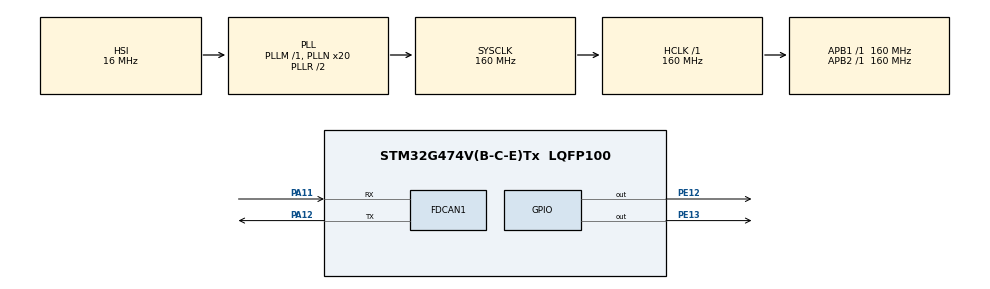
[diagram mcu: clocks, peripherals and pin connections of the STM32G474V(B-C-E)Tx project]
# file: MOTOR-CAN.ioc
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FDCAN1.CalculateBaudRateNominal=1000000
FDCAN1.CalculateTimeBitNominal=1000
FDCAN1.CalculateTimeQuantumNominal=200.0
FDCAN1.ExtFiltersNbr=8
FDCAN1.NominalPrescaler=32
FDCAN1.NominalTimeSeg1=2
FDCAN1.NominalTimeSeg2=2
FDCAN1.StdFiltersNbr=8
Mcu.Family=STM32G4
Mcu.Name=STM32G474V(B-C-E)Tx
Mcu.Package=LQFP100
NVIC.FDCAN1_IT0_IRQn=true\:0\:0\:false\:false\:true\:true\:true\:true
NVIC.FDCAN1_IT1_IRQn=true\:0\:0\:false\:false\:true\:true\:true\:true
NVIC.PriorityGroup=NVIC_PRIORITYGROUP_4
PA11.Mode=FDCAN_Activate
PA11.Signal=FDCAN1_RX
PA12.Mode=FDCAN_Activate
PA12.Signal=FDCAN1_TX
PA13.Mode=Serial_Wire
PA13.Signal=SYS_JTMS-SWDIO
PA14.Mode=Serial_Wire
PA14.Signal=SYS_JTCK-SWCLK
PE12.GPIO_ModeDefaultOutputPP=GPIO_MODE_OUTPUT_PP
PE12.GPIO_PuPd=GPIO_PULLUP
PE12.PinState=GPIO_PIN_RESET
PE12.Signal=GPIO_Output
PE13.GPIO_PuPd=GPIO_PULLUP
PE13.PinState=GPIO_PIN_RESET
PE13.Signal=GPIO_Output
ProjectManager.HeapSize=0x200
ProjectManager.StackSize=0x400
ProjectManager.TargetToolchain=CMake
RCC.ADC12Freq_Value=160000000
RCC.ADC345Freq_Value=160000000
RCC.AHBFreq_Value=160000000
RCC.APB1Freq_Value=160000000
RCC.APB1TimFreq_Value=160000000
RCC.APB2Freq_Value=160000000
RCC.APB2TimFreq_Value=160000000
RCC.CortexFreq_Value=160000000
RCC.EXTERNAL_CLOCK_VALUE=12288000
RCC.HCLKFreq_Value=160000000
RCC.HSE_VALUE=8000000
RCC.HSI48_VALUE=48000000
RCC.HSI_VALUE=16000000
RCC.LSE_VALUE=32768
RCC.PLLN=20
RCC.SYSCLKFreq_VALUE=160000000
RCC.SYSCLKSource=RCC_SYSCLKSOURCE_PLLCLK
RCC.USBFreq_Value=160000000
RCC.VCOOutputFreq_Value=320000000
VP_SYS_VS_DBSignals.Mode=DisableDeadBatterySignals
board=custom

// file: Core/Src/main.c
/* USER CODE BEGIN Header */
/**
  ******************************************************************************
  * @file           : main.c
  * @brief          : Main program body
  ******************************************************************************
  * @attention
  *
  * Copyright (c) 2026 STMicroelectronics.
  * All rights reserved.
  *
  * This software is licensed under terms that can be found in the LICENSE file
  * in the root directory of this software component.
  * If no LICENSE file comes with this software, it is provided AS-IS.
  *
  ******************************************************************************
  */
/* USER CODE END Header */
#include "main.h"
#include "fdcan.h"
#include "gpio.h"

/* USER CODE BEGIN Includes */
#include <string.h>
/* USER CODE END Includes */

/* USER CODE BEGIN PV */

uint8_t FDCAN_0x200_Tx_Data[8];
uint8_t FDCAN_0x2ff_Tx_Data[8];

volatile uint16_t Motor_ecd;
volatile int16_t  Motor_speed;
volatile int16_t  Motor_current;
volatile uint8_t  Motor_temp;
volatile uint8_t  Motor_online;
volatile int16_t   test_CURRENT = 1000;

/* USER CODE END PV */

void SystemClock_Config(void);

/* USER CODE BEGIN 0 */

void CAN_Init(FDCAN_HandleTypeDef* hfdcan1) {
  HAL_FDCAN_Start(hfdcan1);
  HAL_FDCAN_ActivateNotification(hfdcan1,FDCAN_IT_RX_FIFO0_NEW_MESSAGE,0);

}

void CAN_FilterInit(FDCAN_HandleTypeDef* hcan,uint32_t can_filter_id,uint32_t can_filter_mask) {
  FDCAN_FilterTypeDef CAN_Filter_InitStruct;
  CAN_Filter_InitStruct.IdType = FDCAN_STANDARD_ID;
  CAN_Filter_InitStruct.FilterType = FDCAN_FILTER_MASK;
  CAN_Filter_InitStruct.FilterIndex = 0;
  CAN_Filter_InitStruct.FilterConfig = FDCAN_FILTER_TO_RXFIFO0;
  CAN_Filter_InitStruct.FilterID1 = can_filter_id;
  CAN_Filter_InitStruct.FilterID2 = can_filter_mask;

  HAL_FDCAN_ConfigFilter(hcan,&CAN_Filter_InitStruct);
}

uint8_t CAN_Transmit(FDCAN_HandleTypeDef* hcan,uint32_t can_id,uint8_t *Data,uint16_t Length) {
  FDCAN_TxHeaderTypeDef txheader;

  txheader.Identifier = can_id;
  txheader.IdType = FDCAN_STANDARD_ID;
  txheader.TxFrameType = FDCAN_DATA_FRAME;
  txheader.DataLength = Length;
  txheader.BitRateSwitch = FDCAN_BRS_OFF;
  txheader.FDFormat = FDCAN_CLASSIC_CAN;
  txheader.TxEventFifoControl = FDCAN_NO_TX_EVENTS;
  txheader.MessageMarker = 0;

  return  (HAL_FDCAN_AddMessageToTxFifoQ(&hfdcan1,&txheader,Data));

}

void CAN_MotorEnable(FDCAN_HandleTypeDef* hcan, uint8_t enable)
{
  memset(FDCAN_0x2ff_Tx_Data, 0, 8);
  FDCAN_0x2ff_Tx_Data[0] = enable ? 0xFF : 0x00;
  CAN_Transmit(hcan, 0x2FF, FDCAN_0x2ff_Tx_Data, 8);
}

void CAN_CURRENT(FDCAN_HandleTypeDef* hcan, int16_t current) {
  memset(FDCAN_0x200_Tx_Data, 0, 8);
  FDCAN_0x200_Tx_Data[6] = (uint8_t)(current>>8);
  FDCAN_0x200_Tx_Data[7] = (uint8_t)(current&0xFF);
  CAN_Transmit(hcan, 0x200, FDCAN_0x200_Tx_Data, 8);
}

/* USER CODE END 0 */

int main(void)
{

  /* MCU Configuration--------------------------------------------------------*/

  /* Reset of all peripherals, Initializes the Flash interface and the Systick. */
  HAL_Init();

  /* Configure the system clock */
  SystemClock_Config();

  /* Initialize all configured peripherals */
  MX_GPIO_Init();
  MX_FDCAN1_Init();
  /* USER CODE BEGIN 2 */
  CAN_FilterInit(&hfdcan1, 0x204, 0x7FF);
  CAN_Init(&hfdcan1);
  CAN_MotorEnable(&hfdcan1, 1);
  /* USER CODE END 2 */

  /* Infinite loop */
  /* USER CODE BEGIN WHILE */
  while (1)
  {
    // HAL_GPIO_TogglePin(GPIOE,GPIO_PIN_12);
    // HAL_GPIO_TogglePin(GPIOE,GPIO_PIN_13);
    // HAL_Delay(500);
    /* USER CODE END WHILE */

    /* USER CODE BEGIN 3 */
    CAN_CURRENT(&hfdcan1, test_CURRENT);
    HAL_Delay(1);
  }
  /* USER CODE END 3 */
}

void SystemClock_Config(void)
{
  RCC_OscInitTypeDef RCC_OscInitStruct = {0};
  RCC_ClkInitTypeDef RCC_ClkInitStruct = {0};

  /** Configure the main internal regulator output voltage
  */
  HAL_PWREx_ControlVoltageScaling(PWR_REGULATOR_VOLTAGE_SCALE1_BOOST);

  /** Initializes the RCC Oscillators according to the specified parameters
  * in the RCC_OscInitTypeDef structure.
  */
  RCC_OscInitStruct.OscillatorType = RCC_OSCILLATORTYPE_HSI;
  RCC_OscInitStruct.HSIState = RCC_HSI_ON;
  RCC_OscInitStruct.HSICalibrationValue = RCC_HSICALIBRATION_DEFAULT;
  RCC_OscInitStruct.PLL.PLLState = RCC_PLL_ON;
  RCC_OscInitStruct.PLL.PLLSource = RCC_PLLSOURCE_HSI;
  RCC_OscInitStruct.PLL.PLLM = RCC_PLLM_DIV1;
  RCC_OscInitStruct.PLL.PLLN = 20;
  RCC_OscInitStruct.PLL.PLLP = RCC_PLLP_DIV2;
  RCC_OscInitStruct.PLL.PLLQ = RCC_PLLQ_DIV2;
  RCC_OscInitStruct.PLL.PLLR = RCC_PLLR_DIV2;
  if (HAL_RCC_OscConfig(&RCC_OscInitStruct) != HAL_OK)
  {
    Error_Handler();
  }

  /** Initializes the CPU, AHB and APB buses clocks
  */
  RCC_ClkInitStruct.ClockType = RCC_CLOCKTYPE_HCLK|RCC_CLOCKTYPE_SYSCLK
                              |RCC_CLOCKTYPE_PCLK1|RCC_CLOCKTYPE_PCLK2;
  RCC_ClkInitStruct.SYSCLKSource = RCC_SYSCLKSOURCE_PLLCLK;
  RCC_ClkInitStruct.AHBCLKDivider = RCC_SYSCLK_DIV1;
  RCC_ClkInitStruct.APB1CLKDivider = RCC_HCLK_DIV1;
  RCC_ClkInitStruct.APB2CLKDivider = RCC_HCLK_DIV1;

  if (HAL_RCC_ClockConfig(&RCC_ClkInitStruct, FLASH_LATENCY_4) != HAL_OK)
  {
    Error_Handler();
  }
}

/* USER CODE BEGIN 4 */

void HAL_FDCAN_RxFifo0Callback(FDCAN_HandleTypeDef* hfdcan, uint32_t RxFifo0ITs) {
  FDCAN_RxHeaderTypeDef rxHeader;
  uint8_t rxData[8];

  while (HAL_FDCAN_GetRxFifoFillLevel(hfdcan, FDCAN_RX_FIFO0) > 0)
  {
    if (HAL_FDCAN_GetRxMessage(hfdcan, FDCAN_RX_FIFO0, &rxHeader, rxData) != HAL_OK)
    {
      break;
    }

    if (rxHeader.Identifier != 0x204) continue;

    Motor_ecd     = (uint16_t)((rxData[0] << 8) | rxData[1]);
    Motor_speed   = (int16_t) ((rxData[2] << 8) | rxData[3]);
    Motor_current = (int16_t) ((rxData[4] << 8) | rxData[5]);
    Motor_temp    = rxData[6];
    Motor_online  = 1;
  }
}

/* USER CODE END 4 */

void Error_Handler(void)
{
  __disable_irq();
  while (1)
  {
  }
}
